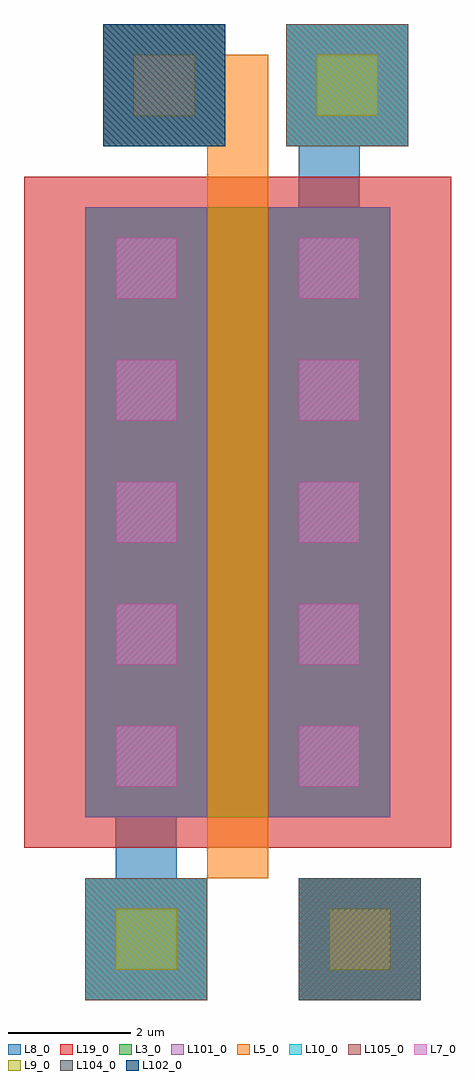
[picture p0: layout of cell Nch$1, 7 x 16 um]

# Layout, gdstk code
import gdstk
lib = gdstk.Library(unit=1e-6, precision=1e-09)
def R(c, l, rs):  # rectangles x0, y0, x1, y1
    for r in rs: c.add(gdstk.rectangle(r[:2], r[2:], *l))
L3_0 = (3, 0)
L5_0 = (5, 0)
L7_0 = (7, 0)
L8_0 = (8, 0)
L9_0 = (9, 0)
L10_0 = (10, 0)
L19_0 = (19, 0)
L101_0 = (101, 0)
L102_0 = (102, 0)
L104_0 = (104, 0)
L105_0 = (105, 0)

dcont = lib.new_cell('dcont')
R(dcont, L3_0, [(-0.5,-0.5,0.5,0.5)])
R(dcont, L7_0, [(-0.5,-0.5,0.5,0.5)])
R(dcont, L8_0, [(-1,-1,1,1)])
R(dcont, L101_0, [(-1,-1,1,1)])
dcont.add(gdstk.Label('dcont', (0,0), layer=13, texttype=0))

via = lib.new_cell('Via')
R(via, L8_0, [(-1,-1,1,1)])
R(via, L9_0, [(-0.5,-0.5,0.5,0.5)])
R(via, L10_0, [(-1,-1,1,1)])
R(via, L105_0, [(-1,-1,1,1)])
via.add(gdstk.Label('via', (0,0), layer=13, texttype=0))

dcont_2 = lib.new_cell('dcont$2')
R(dcont_2, L3_0, [(-0.5,-0.5,0.5,0.5)])
R(dcont_2, L7_0, [(-0.5,-0.5,0.5,0.5)])
R(dcont_2, L8_0, [(-1,-1,1,1)])
R(dcont_2, L101_0, [(-1,-1,1,1)])
dcont_2.add(gdstk.Label('dcont', (0,0), layer=13, texttype=0))

psubcont = lib.new_cell('psubcont')
R(psubcont, L104_0, [(-1,-1,1,1)])
psubcont.add(gdstk.Reference(dcont_2, (0,0)))
psubcont.add(gdstk.Label('PScon', (0,0), layer=13, texttype=0))

pcont = lib.new_cell('pcont')
R(pcont, L5_0, [(-1,-1,1,1)])
R(pcont, L7_0, [(-0.5,-0.5,0.5,0.5)])
R(pcont, L8_0, [(-1,-1,1,1)])
R(pcont, L102_0, [(-1,-1,1,1)])
pcont.add(gdstk.Label('pcont', (0,0), layer=13, texttype=0))

nch_1 = lib.new_cell('Nch$1')
R(nch_1, L3_0, [(0,3,5,13)])
R(nch_1, L19_0, [(-1,2.5,6,13.5)])
nch_1.add(gdstk.FlexPath([(1,3),(1,13)], 2, ends="flush", simple_path=True, layer=8, datatype=0))  # L8_0
nch_1.add(gdstk.FlexPath([(4,3),(4,13)], 2, ends="flush", simple_path=True, layer=8, datatype=0))  # L8_0
nch_1.add(gdstk.FlexPath([(1,1),(1,3)], 1, ends="flush", simple_path=True, layer=8, datatype=0))  # L8_0
nch_1.add(gdstk.FlexPath([(4,13),(4,15)], 1, ends="flush", simple_path=True, layer=8, datatype=0))  # L8_0
nch_1.add(gdstk.FlexPath([(2.5,3),(2.5,13)], 1, ends=(1, 1), simple_path=True, layer=5, datatype=0))  # L5_0
nch_1.add(gdstk.FlexPath([(1,15),(2.5,15),(2.5,14)], 1, ends="flush", simple_path=True, layer=5, datatype=0))  # L5_0
nch_1.add(gdstk.Reference(dcont, (1,4)))
nch_1.add(gdstk.Reference(dcont, (1,6)))
nch_1.add(gdstk.Reference(dcont, (1,8)))
nch_1.add(gdstk.Reference(dcont, (1,10)))
nch_1.add(gdstk.Reference(dcont, (1,12)))
nch_1.add(gdstk.Reference(dcont, (4,4)))
nch_1.add(gdstk.Reference(dcont, (4,6)))
nch_1.add(gdstk.Reference(dcont, (4,8)))
nch_1.add(gdstk.Reference(dcont, (4,10)))
nch_1.add(gdstk.Reference(dcont, (4,12)))
nch_1.add(gdstk.Reference(via, (1,1)))
nch_1.add(gdstk.Reference(psubcont, (4.5,1)))
nch_1.add(gdstk.Reference(via, (4.5,1)))
nch_1.add(gdstk.Reference(pcont, (1.3,15)))
nch_1.add(gdstk.Reference(via, (1.3,15)))
nch_1.add(gdstk.Reference(via, (4.3,15)))

lib.write_gds('Nch_1.gds')
